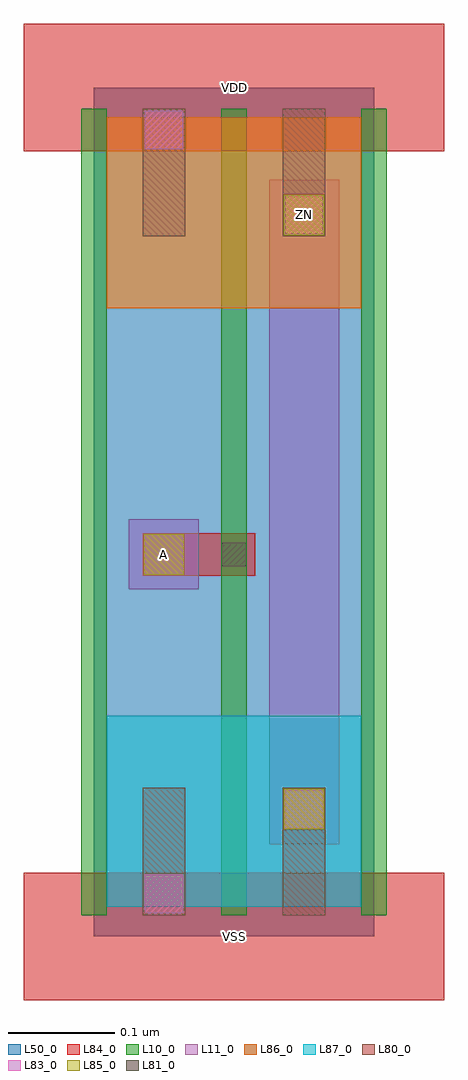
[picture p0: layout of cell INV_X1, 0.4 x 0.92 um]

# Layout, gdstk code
import gdstk
lib = gdstk.Library(unit=1e-6, precision=1e-09)
def R(c, l, rs):  # rectangles x0, y0, x1, y1
    for r in rs: c.add(gdstk.rectangle(r[:2], r[2:], *l))
def A(c, l, x, y, w, h, nx, ny, dx, dy):  # array of equal rectangles
    R(c, l, [(x+i*dx, y+j*dy, x+i*dx+w, y+j*dy+h) for i in range(nx) for j in range(ny)])
L10_0 = (10, 0)
L11_0 = (11, 0)
L50_0 = (50, 0)
L80_0 = (80, 0)
L81_0 = (81, 0)
L83_0 = (83, 0)
L84_0 = (84, 0)
L85_0 = (85, 0)
L86_0 = (86, 0)
L87_0 = (87, 0)

inv_x1 = lib.new_cell('INV_X1')
A(inv_x1, L10_0, -0.012, 0.02, 0.024, 0.76, 3, 1, 0.132, 0)
R(inv_x1, L11_0, [(0.165,0.087,0.231,0.713), (0.033,0.327,0.099,0.393)])
R(inv_x1, L50_0, [(0,0,0.264,0.8)])
R(inv_x1, L80_0, [(0.046,0.02,0.086,0.14), (0.178,0.02,0.218,0.14), (0.046,0.66,0.086,0.78), (0.178,0.66,0.218,0.78)])
R(inv_x1, L81_0, [(0.121,0.349,0.143,0.371)])
R(inv_x1, L83_0, [(0.048,0.022,0.084,0.058), (0.18,0.102,0.216,0.138), (0.18,0.662,0.216,0.698), (0.048,0.742,0.084,0.778)])
R(inv_x1, L84_0, [(-0.066,-0.06,0.33,0.06), (0.178,0.1,0.218,0.14), (0.046,0.34,0.152,0.38), (0.178,0.66,0.218,0.7), (-0.066,0.74,0.33,0.86)])
R(inv_x1, L85_0, [(0.179,0.101,0.217,0.139), (0.047,0.341,0.085,0.379), (0.179,0.661,0.217,0.699)])
R(inv_x1, L86_0, [(0.012,0.592,0.252,0.772)])
R(inv_x1, L87_0, [(0.012,0.028,0.252,0.208)])
inv_x1.add(gdstk.Label('VDD', (0.132,0.8), layer=88, texttype=0))
inv_x1.add(gdstk.Label('VSS', (0.132,0), layer=88, texttype=0))
inv_x1.add(gdstk.Label('ZN', (0.198,0.68), layer=31, texttype=0))
inv_x1.add(gdstk.Label('A', (0.066,0.36), layer=31, texttype=0))

lib.write_gds('INV_X1.gds')
